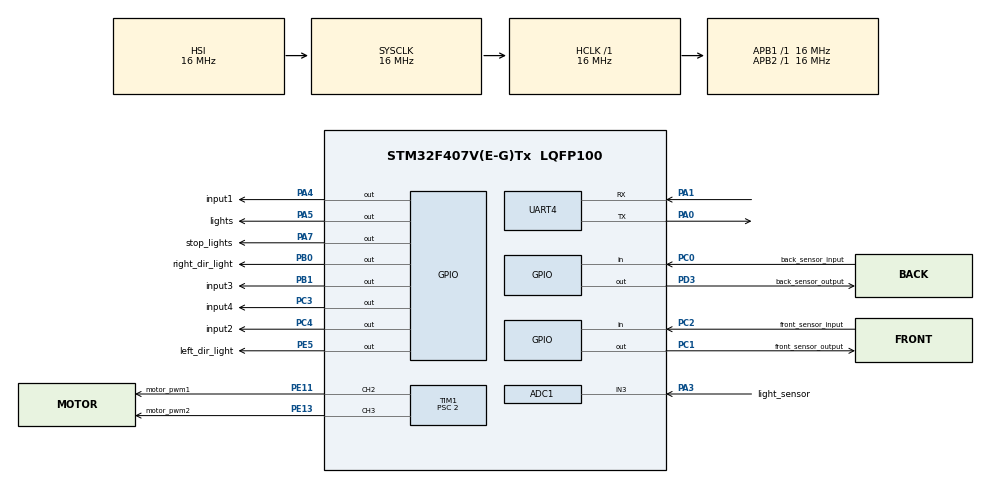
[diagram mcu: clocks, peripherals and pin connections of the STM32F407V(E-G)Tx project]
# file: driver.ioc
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ADC1.Channel-0\#ChannelRegularConversion=ADC_CHANNEL_3
ADC1.NbrOfConversionFlag=1
ADC1.Rank-0\#ChannelRegularConversion=1
ADC1.SamplingTime-0\#ChannelRegularConversion=ADC_SAMPLETIME_3CYCLES
ADC1.master=1
Mcu.Family=STM32F4
Mcu.Name=STM32F407V(E-G)Tx
Mcu.Package=LQFP100
NVIC.PriorityGroup=NVIC_PRIORITYGROUP_4
NVIC.TIM3_IRQn=true\:0\:0\:false\:false\:true\:true\:true\:true
PA0-WKUP.Mode=Asynchronous
PA0-WKUP.Signal=UART4_TX
PA1.Mode=Asynchronous
PA1.Signal=UART4_RX
PA3.GPIO_Label=light_sensor
PA3.Signal=ADCx_IN3
PA4.GPIO_Label=input1
PA4.Signal=GPIO_Output
PA5.GPIO_Label=lights
PA5.Signal=GPIO_Output
PA7.GPIO_Label=stop_lights
PA7.Signal=GPIO_Output
PB0.GPIO_Label=right_dir_light
PB0.Signal=GPIO_Output
PB1.GPIO_Label=input3
PB1.Signal=GPIO_Output
PC0.GPIO_Label=back_sensor_input
PC0.Signal=GPIO_Input
PC1.GPIO_Label=front_sensor_output
PC1.Signal=GPIO_Output
PC2.GPIO_Label=front_sensor_input
PC2.Signal=GPIO_Input
PC3.GPIO_Label=input4
PC3.Signal=GPIO_Output
PC4.GPIO_Label=input2
PC4.Signal=GPIO_Output
PD3.GPIO_Label=back_sensor_output
PD3.Signal=GPIO_Output
PE11.GPIO_Label=motor_pwm1
PE11.Signal=S_TIM1_CH2
PE13.GPIO_Label=motor_pwm2
PE13.Signal=S_TIM1_CH3
PE5.GPIO_Label=left_dir_light
PE5.Signal=GPIO_Output
ProjectManager.HeapSize=0x200
ProjectManager.StackSize=0x400
ProjectManager.TargetToolchain=Makefile
RCC.AHBFreq_Value=16000000
RCC.APB1Freq_Value=16000000
RCC.APB2Freq_Value=16000000
RCC.CortexFreq_Value=16000000
RCC.HSE_VALUE=25000000
RCC.HSI_VALUE=16000000
RCC.LSE_VALUE=32768
RCC.SYSCLKFreq_VALUE=16000000
RCC.VCOOutputFreq_Value=192000000
SH.ADCx_IN3.0=ADC1_IN3,IN3
SH.S_TIM1_CH2.0=TIM1_CH2,PWM Generation2 CH2
SH.S_TIM1_CH3.0=TIM1_CH3,PWM Generation3 CH3
TIM1.Channel-PWM\ Generation2\ CH2=TIM_CHANNEL_2
TIM1.Channel-PWM\ Generation3\ CH3=TIM_CHANNEL_3
TIM1.Period=625
TIM1.Prescaler=2
TIM3.Period=10000
TIM3.Prescaler=6399
UART4.VirtualMode=Asynchronous
VP_TIM1_VS_ClockSourceINT.Mode=Internal
VP_TIM3_VS_ClockSourceINT.Mode=Internal
VP_TIM5_VS_ClockSourceINT.Mode=Internal
board=custom

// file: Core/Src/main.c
/* USER CODE BEGIN Header */
/**
  ******************************************************************************
  * @file           : main.c
  * @brief          : Main program body
  ******************************************************************************
  * @attention
  *
  * Copyright (c) 2023 STMicroelectronics.
  * All rights reserved.
  *
  * This software is licensed under terms that can be found in the LICENSE file
  * in the root directory of this software component.
  * If no LICENSE file comes with this software, it is provided AS-IS.
  *
  ******************************************************************************
  */
/* USER CODE END Header */
#include "main.h"

/* USER CODE BEGIN Includes */
#include "stdio.h"
#include "string.h"
#include "messages.h"
/* USER CODE END Includes */

ADC_HandleTypeDef hadc1;

TIM_HandleTypeDef htim1;
TIM_HandleTypeDef htim3;
TIM_HandleTypeDef htim5;

UART_HandleTypeDef huart4;

void SystemClock_Config(void);
static void MX_GPIO_Init(void);
static void MX_TIM1_Init(void);
static void MX_TIM5_Init(void);
static void MX_UART4_Init(void);
static void MX_ADC1_Init(void);
static void MX_TIM3_Init(void);
/* USER CODE BEGIN PFP */
  // Engine

/* USER CODE END PFP */

/* USER CODE BEGIN 0 */
char uartBuf[100];
char rcvBuf[100];

#define FORWARD_DIRECTION 0
#define BACKWARDS_DIRECTION 1
#define LEFT_DIRECTION 0
#define RIGHT_DIRECTION 1
#define COUNTER_PERIOD 625

#define LIGHT_SENSOR_TRESHOLD 120

/* 2.8*0.0343/2 */
#define SPEED_OF_SOUND 0.04802

uint8_t right_direction_lights = 0;
uint8_t left_direction_lights = 0;
uint8_t engine_direction = FORWARD_DIRECTION;

void usDelay(uint32_t sec) {
  if (sec < 2) {
    sec = 2;
  }

  TIM5->ARR = sec - 1;
  TIM5->EGR = 1;
  TIM5->SR &= ~1;
  TIM5->CR1 |= 1;
  while ((TIM5->SR & 0x0001) != 1);
  TIM5->SR &= ~(0x0001);
}

float front_distance_check_sensor() {
    static int numTicks;
    static float distance;
    numTicks = 0;

    HAL_GPIO_WritePin(front_sensor_output_GPIO_Port, front_sensor_output_Pin, GPIO_PIN_RESET);
    usDelay(3);

    HAL_GPIO_WritePin(front_sensor_output_GPIO_Port, front_sensor_output_Pin, GPIO_PIN_SET);
    usDelay(10);
    HAL_GPIO_WritePin(front_sensor_output_GPIO_Port, front_sensor_output_Pin, GPIO_PIN_RESET);

    while (HAL_GPIO_ReadPin(front_sensor_input_GPIO_Port, front_sensor_input_Pin) == GPIO_PIN_RESET);

    while (HAL_GPIO_ReadPin(front_sensor_input_GPIO_Port, front_sensor_input_Pin) == GPIO_PIN_SET) {
      ++numTicks;
      usDelay(2);
    }

    // sleep_duration = sleep_scaled(numTicks);

    distance = (numTicks + 0.0f) * SPEED_OF_SOUND;

		//5. Print to UART terminal for debugging
		// sprintf(uartBuf, "Front Distance (cm)  = %d \r\nFront NUM TICKS: %d \r\n", (int)(distance*10),(int)numTicks);
		// HAL_UART_Transmit(&huart4, (uint8_t *)uartBuf, strlen(uartBuf), 100);

    return distance;
}

float rear_distance_check_sensor() {
    static int numTicks;
    static float distance;
    numTicks = 0;

    HAL_GPIO_WritePin(back_sensor_output_GPIO_Port, back_sensor_output_Pin, GPIO_PIN_RESET);
    usDelay(3);

    HAL_GPIO_WritePin(back_sensor_output_GPIO_Port, back_sensor_output_Pin, GPIO_PIN_SET);
    usDelay(10);
    HAL_GPIO_WritePin(back_sensor_output_GPIO_Port, back_sensor_output_Pin, GPIO_PIN_RESET);

    while (HAL_GPIO_ReadPin(back_sensor_input_GPIO_Port, back_sensor_input_Pin) == GPIO_PIN_RESET);

    while (HAL_GPIO_ReadPin(back_sensor_input_GPIO_Port, back_sensor_input_Pin) == GPIO_PIN_SET) {
      ++numTicks;
      usDelay(2);
    }

    // sleep_duration = sleep_scaled(numTicks);

    distance = (numTicks + 0.0f) * SPEED_OF_SOUND;

		//5. Print to UART terminal for debugging
		// sprintf(uartBuf, "Rear Distance (cm)  = %d \r\nFront NUM TICKS: %d \r\n", (int)(distance*10),(int)numTicks);
		// HAL_UART_Transmit(&huart4, (uint8_t *)uartBuf, strlen(uartBuf), 100);

    return distance;
}

int scalePercentToDutyCycle(int intensity) {
    return (intensity / 100.0) * COUNTER_PERIOD;
}

void change_speed(int intensity, int direction) {
    intensity = scalePercentToDutyCycle(intensity);

    __HAL_TIM_SET_COMPARE(&htim1, TIM_CHANNEL_2, intensity);
    switch (direction) {
        case FORWARD_DIRECTION:
            HAL_GPIO_WritePin(input1_GPIO_Port, input1_Pin , GPIO_PIN_RESET);
            HAL_GPIO_WritePin(input2_GPIO_Port, input2_Pin , GPIO_PIN_SET);
            engine_direction = FORWARD_DIRECTION;
            break;
        case BACKWARDS_DIRECTION:
            HAL_GPIO_WritePin(input2_GPIO_Port, input2_Pin , GPIO_PIN_RESET);
            HAL_GPIO_WritePin(input1_GPIO_Port, input1_Pin , GPIO_PIN_SET);
            engine_direction = BACKWARDS_DIRECTION;
            break;
        default:
            __HAL_TIM_SET_COMPARE(&htim1, TIM_CHANNEL_2, 0);
            HAL_GPIO_WritePin(input2_GPIO_Port, input2_Pin , GPIO_PIN_RESET);
            HAL_GPIO_WritePin(input1_GPIO_Port, input1_Pin , GPIO_PIN_RESET);
    }
}

void change_direction(int intensity, int direction) {
    intensity = scalePercentToDutyCycle(intensity);

    __HAL_TIM_SET_COMPARE(&htim1, TIM_CHANNEL_3, intensity);
    switch (direction) {
        case LEFT_DIRECTION:
            HAL_GPIO_WritePin(input3_GPIO_Port, input3_Pin , GPIO_PIN_RESET);
            HAL_GPIO_WritePin(input4_GPIO_Port, input4_Pin , GPIO_PIN_SET);
            break;
        case RIGHT_DIRECTION:
            HAL_GPIO_WritePin(input4_GPIO_Port, input4_Pin , GPIO_PIN_RESET);
            HAL_GPIO_WritePin(input3_GPIO_Port, input3_Pin , GPIO_PIN_SET);
            break;
        default:
            __HAL_TIM_SET_COMPARE(&htim1, TIM_CHANNEL_3, 0);
            HAL_GPIO_WritePin(input3_GPIO_Port, input3_Pin , GPIO_PIN_RESET);
            HAL_GPIO_WritePin(input4_GPIO_Port, input4_Pin , GPIO_PIN_RESET);
    }
}

uint8_t light_sensor_check() {
  HAL_ADC_Start(&hadc1);
  HAL_ADC_PollForConversion(&hadc1, 1);

  uint32_t val = HAL_ADC_GetValue(&hadc1);

  // sprintf(uartBuf, "Analog value  = %d \r\n", (int)val);
  // HAL_UART_Transmit(&huart4, (uint8_t *)uartBuf, strlen(uartBuf), 100);

  return val < LIGHT_SENSOR_TRESHOLD;
}

void seq() {
    change_speed(100, BACKWARDS_DIRECTION);
    HAL_Delay(10000);

    change_direction(100, LEFT_DIRECTION);
    HAL_Delay(1500);
    change_speed(100, FORWARD_DIRECTION);
    change_direction(65, LEFT_DIRECTION);
    HAL_Delay(1500);

    change_speed(65, BACKWARDS_DIRECTION);
    change_direction(100, RIGHT_DIRECTION);
    HAL_Delay(1500);
    change_speed(65, FORWARD_DIRECTION);
    change_direction(65, RIGHT_DIRECTION);
    HAL_Delay(1500);

    change_speed(85, BACKWARDS_DIRECTION);
    change_direction(100, LEFT_DIRECTION);
    HAL_Delay(1500);
    change_speed(85, FORWARD_DIRECTION);
    change_direction(100, RIGHT_DIRECTION);
    HAL_Delay(1500);

    change_speed(55, BACKWARDS_DIRECTION);
    change_direction(100, LEFT_DIRECTION);
    HAL_Delay(1500);
    change_speed(55, FORWARD_DIRECTION);
    change_direction(100, RIGHT_DIRECTION);
    HAL_Delay(1500);
}
/* USER CODE END 0 */

int main(void)
{

  /* MCU Configuration--------------------------------------------------------*/

  /* Reset of all peripherals, Initializes the Flash interface and the Systick. */
  HAL_Init();

  /* Configure the system clock */
  SystemClock_Config();

  /* Initialize all configured peripherals */
  MX_GPIO_Init();
  MX_TIM1_Init();
  MX_TIM5_Init();
  MX_UART4_Init();
  MX_ADC1_Init();
  MX_TIM3_Init();
  /* USER CODE BEGIN 2 */
  HAL_GPIO_WritePin(stop_lights_GPIO_Port, stop_lights_Pin, GPIO_PIN_SET);
  HAL_TIM_PWM_Start(&htim1, TIM_CHANNEL_2);
  HAL_TIM_PWM_Start(&htim1, TIM_CHANNEL_3);

  __HAL_TIM_SET_COMPARE(&htim1, TIM_CHANNEL_2, 0);
  __HAL_TIM_SET_COMPARE(&htim1, TIM_CHANNEL_3, 0);

  uint8_t auto_lights = 0;
  uint8_t lights = 0;

  sprintf(uartBuf, "Started!");
	HAL_UART_Transmit(&huart4, (uint8_t *)uartBuf, strlen(uartBuf), 100);

  if (HAL_TIM_Base_Start_IT(&htim3) != HAL_OK) {
    /* Starting Error */
    Error_Handler();
  }
  /* USER CODE END 2 */

  /* Infinite loop */
  /* USER CODE BEGIN WHILE */
  while (1)
  {
    // seq();
    // continue;
    memset(rcvBuf, 0, 100 * sizeof(char));
    // memset(uartBuf, 0, 100 * sizeof(char));
    HAL_UART_Receive(&huart4, rcvBuf, 1, 50);

    switch (((uint8_t)(rcvBuf[0])))
    {
    case 1:
    {
        /* voltage_engine_message */
      HAL_UART_Receive(&huart4, &(rcvBuf[1]), sizeof(voltage_engine_message) - 1, 100);
      voltage_engine_message* msg = (voltage_engine_message *) rcvBuf;

      if (msg->voltage > 100) {
        if (front_distance_check_sensor() > 10) {
            change_speed(255 - msg->voltage, FORWARD_DIRECTION);
        } else {
            change_speed(0, FORWARD_DIRECTION);
        }
      } else {
        if (rear_distance_check_sensor() > 10) {
          change_speed(msg->voltage, BACKWARDS_DIRECTION);
        } else {
          change_speed(0, BACKWARDS_DIRECTION);
        }
      }

      if (msg->voltage == 0) {
        HAL_GPIO_WritePin(stop_lights_GPIO_Port, stop_lights_Pin, GPIO_PIN_SET);
      } else {
        HAL_GPIO_WritePin(stop_lights_GPIO_Port, stop_lights_Pin, GPIO_PIN_RESET);
      }
    }
      break;
    case 2:
    {
        /* direction_change_message */
      HAL_UART_Receive(&huart4, &(rcvBuf[1]), sizeof(direction_change_message) - 1, 100);
      direction_change_message* msg = (direction_change_message *) rcvBuf;

      if (msg->direction > 100) {
        change_direction(255 - msg->direction, RIGHT_DIRECTION);
      } else {
        change_direction(msg->direction, LEFT_DIRECTION);
      }
    }
      break;
    case 3:
    {
        /* led_change_message */
      HAL_UART_Receive(&huart4, &(rcvBuf[1]), sizeof(led_change_message) - 1, 50);
      led_change_message* msg = (led_change_message *) rcvBuf;

      // HAL_GPIO_WritePin(lights_GPIO_Port, lights_Pin, msg->front_light ? GPIO_PIN_SET : GPIO_PIN_RESET);
      // HAL_GPIO_WritePin(left_dir_light_GPIO_Port, left_dir_light_Pin, msg->left_dir_light ? GPIO_PIN_SET : GPIO_PIN_RESET);
      // HAL_GPIO_WritePin(right_dir_light_GPIO_Port, right_dir_light_Pin, msg->right_dir_light ? GPIO_PIN_SET : GPIO_PIN_RESET);
      lights = msg->front_light ? 1 : 0;
      right_direction_lights = msg->right_dir_light ? 1 : 0;
      left_direction_lights = msg->left_dir_light ? 1 : 0;
      auto_lights = msg->auto_lights ? 1 : 0;
    }
      break;
    default:
      {
        sprintf(uartBuf, "Uknown message type recv %d\r\n", rcvBuf[0]);
        HAL_UART_Transmit(&huart4, (uint8_t *)uartBuf, strlen(uartBuf), 100);
      }
      break;
    }
    /* USER CODE END WHILE */

    /* USER CODE BEGIN 3 */
    if ((auto_lights && light_sensor_check()) || lights) {
      HAL_GPIO_WritePin(lights_GPIO_Port, lights_Pin, GPIO_PIN_SET);
    } else {
      HAL_GPIO_WritePin(lights_GPIO_Port, lights_Pin, GPIO_PIN_RESET);
    }

    if (front_distance_check_sensor() < 10 && engine_direction == FORWARD_DIRECTION) {
      change_speed(0, FORWARD_DIRECTION);
    }
    else if (rear_distance_check_sensor() < 10 && engine_direction == BACKWARDS_DIRECTION) {
      change_speed(0, BACKWARDS_DIRECTION);
    }
  }
  /* USER CODE END 3 */
}

void SystemClock_Config(void)
{
  RCC_OscInitTypeDef RCC_OscInitStruct = {0};
  RCC_ClkInitTypeDef RCC_ClkInitStruct = {0};

  /** Configure the main internal regulator output voltage
  */
  __HAL_RCC_PWR_CLK_ENABLE();
  __HAL_PWR_VOLTAGESCALING_CONFIG(PWR_REGULATOR_VOLTAGE_SCALE1);

  /** Initializes the RCC Oscillators according to the specified parameters
  * in the RCC_OscInitTypeDef structure.
  */
  RCC_OscInitStruct.OscillatorType = RCC_OSCILLATORTYPE_HSI;
  RCC_OscInitStruct.HSIState = RCC_HSI_ON;
  RCC_OscInitStruct.HSICalibrationValue = RCC_HSICALIBRATION_DEFAULT;
  RCC_OscInitStruct.PLL.PLLState = RCC_PLL_NONE;
  if (HAL_RCC_OscConfig(&RCC_OscInitStruct) != HAL_OK)
  {
    Error_Handler();
  }

  /** Initializes the CPU, AHB and APB buses clocks
  */
  RCC_ClkInitStruct.ClockType = RCC_CLOCKTYPE_HCLK|RCC_CLOCKTYPE_SYSCLK
                              |RCC_CLOCKTYPE_PCLK1|RCC_CLOCKTYPE_PCLK2;
  RCC_ClkInitStruct.SYSCLKSource = RCC_SYSCLKSOURCE_HSI;
  RCC_ClkInitStruct.AHBCLKDivider = RCC_SYSCLK_DIV1;
  RCC_ClkInitStruct.APB1CLKDivider = RCC_HCLK_DIV1;
  RCC_ClkInitStruct.APB2CLKDivider = RCC_HCLK_DIV1;

  if (HAL_RCC_ClockConfig(&RCC_ClkInitStruct, FLASH_LATENCY_0) != HAL_OK)
  {
    Error_Handler();
  }
}

static void MX_ADC1_Init(void)
{

  ADC_ChannelConfTypeDef sConfig = {0};

  /** Configure the global features of the ADC (Clock, Resolution, Data Alignment and number of conversion)
  */
  hadc1.Instance = ADC1;
  hadc1.Init.ClockPrescaler = ADC_CLOCK_SYNC_PCLK_DIV2;
  hadc1.Init.Resolution = ADC_RESOLUTION_12B;
  hadc1.Init.ScanConvMode = DISABLE;
  hadc1.Init.ContinuousConvMode = DISABLE;
  hadc1.Init.DiscontinuousConvMode = DISABLE;
  hadc1.Init.ExternalTrigConvEdge = ADC_EXTERNALTRIGCONVEDGE_NONE;
  hadc1.Init.ExternalTrigConv = ADC_SOFTWARE_START;
  hadc1.Init.DataAlign = ADC_DATAALIGN_RIGHT;
  hadc1.Init.NbrOfConversion = 1;
  hadc1.Init.DMAContinuousRequests = DISABLE;
  hadc1.Init.EOCSelection = ADC_EOC_SINGLE_CONV;
  if (HAL_ADC_Init(&hadc1) != HAL_OK)
  {
    Error_Handler();
  }

  /** Configure for the selected ADC regular channel its corresponding rank in the sequencer and its sample time.
  */
  sConfig.Channel = ADC_CHANNEL_3;
  sConfig.Rank = 1;
  sConfig.SamplingTime = ADC_SAMPLETIME_3CYCLES;
  if (HAL_ADC_ConfigChannel(&hadc1, &sConfig) != HAL_OK)
  {
    Error_Handler();
  }

}

static void MX_TIM1_Init(void)
{

  TIM_ClockConfigTypeDef sClockSourceConfig = {0};
  TIM_MasterConfigTypeDef sMasterConfig = {0};
  TIM_OC_InitTypeDef sConfigOC = {0};
  TIM_BreakDeadTimeConfigTypeDef sBreakDeadTimeConfig = {0};

  htim1.Instance = TIM1;
  htim1.Init.Prescaler = 2;
  htim1.Init.CounterMode = TIM_COUNTERMODE_UP;
  htim1.Init.Period = 625;
  htim1.Init.ClockDivision = TIM_CLOCKDIVISION_DIV1;
  htim1.Init.RepetitionCounter = 0;
  htim1.Init.AutoReloadPreload = TIM_AUTORELOAD_PRELOAD_DISABLE;
  if (HAL_TIM_Base_Init(&htim1) != HAL_OK)
  {
    Error_Handler();
  }
  sClockSourceConfig.ClockSource = TIM_CLOCKSOURCE_INTERNAL;
  if (HAL_TIM_ConfigClockSource(&htim1, &sClockSourceConfig) != HAL_OK)
  {
    Error_Handler();
  }
  if (HAL_TIM_PWM_Init(&htim1) != HAL_OK)
  {
    Error_Handler();
  }
  sMasterConfig.MasterOutputTrigger = TIM_TRGO_RESET;
  sMasterConfig.MasterSlaveMode = TIM_MASTERSLAVEMODE_DISABLE;
  if (HAL_TIMEx_MasterConfigSynchronization(&htim1, &sMasterConfig) != HAL_OK)
  {
    Error_Handler();
  }
  sConfigOC.OCMode = TIM_OCMODE_PWM1;
  sConfigOC.Pulse = 0;
  sConfigOC.OCPolarity = TIM_OCPOLARITY_HIGH;
  sConfigOC.OCNPolarity = TIM_OCNPOLARITY_HIGH;
  sConfigOC.OCFastMode = TIM_OCFAST_DISABLE;
  sConfigOC.OCIdleState = TIM_OCIDLESTATE_RESET;
  sConfigOC.OCNIdleState = TIM_OCNIDLESTATE_RESET;
  if (HAL_TIM_PWM_ConfigChannel(&htim1, &sConfigOC, TIM_CHANNEL_2) != HAL_OK)
  {
    Error_Handler();
  }
  if (HAL_TIM_PWM_ConfigChannel(&htim1, &sConfigOC, TIM_CHANNEL_3) != HAL_OK)
  {
    Error_Handler();
  }
  sBreakDeadTimeConfig.OffStateRunMode = TIM_OSSR_DISABLE;
  sBreakDeadTimeConfig.OffStateIDLEMode = TIM_OSSI_DISABLE;
  sBreakDeadTimeConfig.LockLevel = TIM_LOCKLEVEL_OFF;
  sBreakDeadTimeConfig.DeadTime = 0;
  sBreakDeadTimeConfig.BreakState = TIM_BREAK_DISABLE;
  sBreakDeadTimeConfig.BreakPolarity = TIM_BREAKPOLARITY_HIGH;
  sBreakDeadTimeConfig.AutomaticOutput = TIM_AUTOMATICOUTPUT_DISABLE;
  if (HAL_TIMEx_ConfigBreakDeadTime(&htim1, &sBreakDeadTimeConfig) != HAL_OK)
  {
    Error_Handler();
  }
  HAL_TIM_MspPostInit(&htim1);

}

static void MX_TIM3_Init(void)
{

  TIM_ClockConfigTypeDef sClockSourceConfig = {0};
  TIM_MasterConfigTypeDef sMasterConfig = {0};

  htim3.Instance = TIM3;
  htim3.Init.Prescaler = 6399;
  htim3.Init.CounterMode = TIM_COUNTERMODE_UP;
  htim3.Init.Period = 10000;
  htim3.Init.ClockDivision = TIM_CLOCKDIVISION_DIV1;
  htim3.Init.AutoReloadPreload = TIM_AUTORELOAD_PRELOAD_DISABLE;
  if (HAL_TIM_Base_Init(&htim3) != HAL_OK)
  {
    Error_Handler();
  }
  sClockSourceConfig.ClockSource = TIM_CLOCKSOURCE_INTERNAL;
  if (HAL_TIM_ConfigClockSource(&htim3, &sClockSourceConfig) != HAL_OK)
  {
    Error_Handler();
  }
  sMasterConfig.MasterOutputTrigger = TIM_TRGO_RESET;
  sMasterConfig.MasterSlaveMode = TIM_MASTERSLAVEMODE_DISABLE;
  if (HAL_TIMEx_MasterConfigSynchronization(&htim3, &sMasterConfig) != HAL_OK)
  {
    Error_Handler();
  }

}

static void MX_TIM5_Init(void)
{

  TIM_ClockConfigTypeDef sClockSourceConfig = {0};
  TIM_MasterConfigTypeDef sMasterConfig = {0};

  htim5.Instance = TIM5;
  htim5.Init.Prescaler = 0;
  htim5.Init.CounterMode = TIM_COUNTERMODE_UP;
  htim5.Init.Period = 4294967295;
  htim5.Init.ClockDivision = TIM_CLOCKDIVISION_DIV1;
  htim5.Init.AutoReloadPreload = TIM_AUTORELOAD_PRELOAD_DISABLE;
  if (HAL_TIM_Base_Init(&htim5) != HAL_OK)
  {
    Error_Handler();
  }
  sClockSourceConfig.ClockSource = TIM_CLOCKSOURCE_INTERNAL;
  if (HAL_TIM_ConfigClockSource(&htim5, &sClockSourceConfig) != HAL_OK)
  {
    Error_Handler();
  }
  sMasterConfig.MasterOutputTrigger = TIM_TRGO_RESET;
  sMasterConfig.MasterSlaveMode = TIM_MASTERSLAVEMODE_DISABLE;
  if (HAL_TIMEx_MasterConfigSynchronization(&htim5, &sMasterConfig) != HAL_OK)
  {
    Error_Handler();
  }

}

static void MX_UART4_Init(void)
{

  huart4.Instance = UART4;
  huart4.Init.BaudRate = 115200;
  huart4.Init.WordLength = UART_WORDLENGTH_8B;
  huart4.Init.StopBits = UART_STOPBITS_1;
  huart4.Init.Parity = UART_PARITY_NONE;
  huart4.Init.Mode = UART_MODE_TX_RX;
  huart4.Init.HwFlowCtl = UART_HWCONTROL_NONE;
  huart4.Init.OverSampling = UART_OVERSAMPLING_16;
  if (HAL_UART_Init(&huart4) != HAL_OK)
  {
    Error_Handler();
  }

}

static void MX_GPIO_Init(void)
{
  GPIO_InitTypeDef GPIO_InitStruct = {0};

  /* GPIO Ports Clock Enable */
  __HAL_RCC_GPIOE_CLK_ENABLE();
  __HAL_RCC_GPIOC_CLK_ENABLE();
  __HAL_RCC_GPIOA_CLK_ENABLE();
  __HAL_RCC_GPIOB_CLK_ENABLE();
  __HAL_RCC_GPIOD_CLK_ENABLE();

  /*Configure GPIO pin Output Level */
  HAL_GPIO_WritePin(left_dir_light_GPIO_Port, left_dir_light_Pin, GPIO_PIN_RESET);

  /*Configure GPIO pin Output Level */
  HAL_GPIO_WritePin(GPIOC, front_sensor_output_Pin|input4_Pin|input2_Pin, GPIO_PIN_RESET);

  /*Configure GPIO pin Output Level */
  HAL_GPIO_WritePin(GPIOA, input1_Pin|lights_Pin|stop_lights_Pin, GPIO_PIN_RESET);

  /*Configure GPIO pin Output Level */
  HAL_GPIO_WritePin(GPIOB, right_dir_light_Pin|input3_Pin, GPIO_PIN_RESET);

  /*Configure GPIO pin Output Level */
  HAL_GPIO_WritePin(back_sensor_output_GPIO_Port, back_sensor_output_Pin, GPIO_PIN_RESET);

  /*Configure GPIO pin : left_dir_light_Pin */
  GPIO_InitStruct.Pin = left_dir_light_Pin;
  GPIO_InitStruct.Mode = GPIO_MODE_OUTPUT_PP;
  GPIO_InitStruct.Pull = GPIO_NOPULL;
  GPIO_InitStruct.Speed = GPIO_SPEED_FREQ_LOW;
  HAL_GPIO_Init(left_dir_light_GPIO_Port, &GPIO_InitStruct);

  /*Configure GPIO pins : back_sensor_input_Pin front_sensor_input_Pin */
  GPIO_InitStruct.Pin = back_sensor_input_Pin|front_sensor_input_Pin;
  GPIO_InitStruct.Mode = GPIO_MODE_INPUT;
  GPIO_InitStruct.Pull = GPIO_NOPULL;
  HAL_GPIO_Init(GPIOC, &GPIO_InitStruct);

  /*Configure GPIO pins : front_sensor_output_Pin input4_Pin input2_Pin */
  GPIO_InitStruct.Pin = front_sensor_output_Pin|input4_Pin|input2_Pin;
  GPIO_InitStruct.Mode = GPIO_MODE_OUTPUT_PP;
  GPIO_InitStruct.Pull = GPIO_NOPULL;
  GPIO_InitStruct.Speed = GPIO_SPEED_FREQ_LOW;
  HAL_GPIO_Init(GPIOC, &GPIO_InitStruct);

  /*Configure GPIO pins : input1_Pin lights_Pin stop_lights_Pin */
  GPIO_InitStruct.Pin = input1_Pin|lights_Pin|stop_lights_Pin;
  GPIO_InitStruct.Mode = GPIO_MODE_OUTPUT_PP;
  GPIO_InitStruct.Pull = GPIO_NOPULL;
  GPIO_InitStruct.Speed = GPIO_SPEED_FREQ_LOW;
  HAL_GPIO_Init(GPIOA, &GPIO_InitStruct);

  /*Configure GPIO pins : right_dir_light_Pin input3_Pin */
  GPIO_InitStruct.Pin = right_dir_light_Pin|input3_Pin;
  GPIO_InitStruct.Mode = GPIO_MODE_OUTPUT_PP;
  GPIO_InitStruct.Pull = GPIO_NOPULL;
  GPIO_InitStruct.Speed = GPIO_SPEED_FREQ_LOW;
  HAL_GPIO_Init(GPIOB, &GPIO_InitStruct);

  /*Configure GPIO pin : back_sensor_output_Pin */
  GPIO_InitStruct.Pin = back_sensor_output_Pin;
  GPIO_InitStruct.Mode = GPIO_MODE_OUTPUT_PP;
  GPIO_InitStruct.Pull = GPIO_NOPULL;
  GPIO_InitStruct.Speed = GPIO_SPEED_FREQ_LOW;
  HAL_GPIO_Init(back_sensor_output_GPIO_Port, &GPIO_InitStruct);

}

void Error_Handler(void)
{
  __disable_irq();
  while (1)
  {
  }
}
